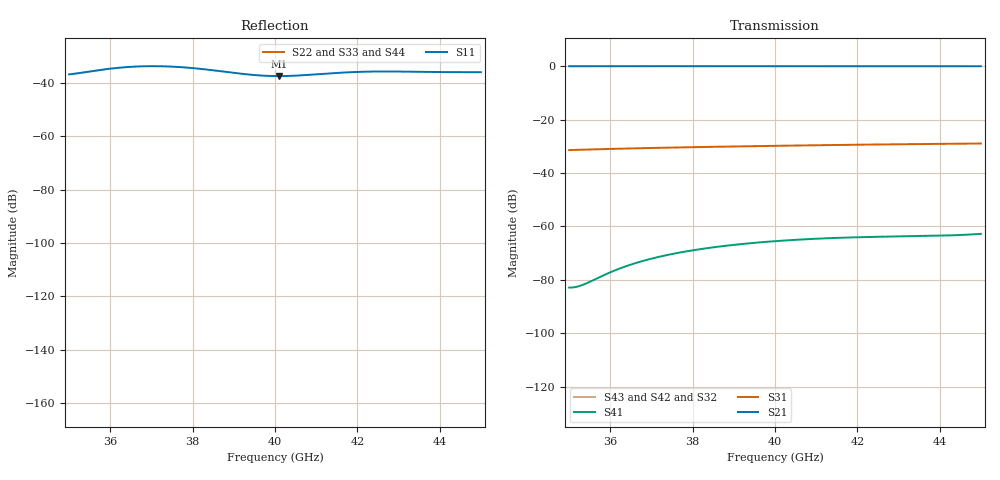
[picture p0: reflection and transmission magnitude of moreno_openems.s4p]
! Moreno cross-guide coupler, openEMS FDTD
! only column 1 (port 1 excited) and, by reciprocity, row 1 are simulated; other entries are zero
! S-parameters are normalised to each port's TE10 wave impedance (generalised
! S-matrix); 'R 50' below is only the placeholder the format requires.
! Reference planes: edges of the common a x a square.
# GHz S MA R 50
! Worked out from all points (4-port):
!   201 points, 35 GHz to 45 GHz, reference 50 ohm
!   strongest paths, dB at 35 GHz, 37.5 GHz, 40 GHz, 42.5 GHz, 45 GHz:
!     S21: 0.0, 0.0, 0.0, 0.0, 0.0
!     S31: -31.4, -30.5, -29.8, -29.3, -29.0
!     S41: -82.9, -70.3, -65.5, -63.9, -62.8
!     S43: -, -, -, -, -
!     S42: -, -, -, -, -
!     S32: -, -, -, -, -
!   lowest |S11| = -37.5 dB at 40.1 GHz (marker M1), VSWR 1.03, Z = 51.3 + j0.47 ohm
!   |S11| at or under -10 dB: start of sweep to end of sweep
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35  0.01433 -142.0  0.9983 -159.8  0.02687 110.2  7.162e-05 -107.3
    0.9983 -159.8  0 0.0  0 0.0  0 0.0
    0.02687 110.2  0 0.0  0 0.0  0 0.0
    7.162e-05 -107.3  0 0.0  0 0.0  0 0.0
35.6  0.01671 -117.4  0.9998 -166.1  0.02771 104.0  9.947e-05 -168.3
      0.9998 -166.1  0 0.0  0 0.0  0 0.0
      0.02771 104.0  0 0.0  0 0.0  0 0.0
      9.947e-05 -168.3  0 0.0  0 0.0  0 0.0
37.1  0.02043 -78.8  1 178.6  0.02952 88.6  0.0002602 129.5
      1 178.6  0 0.0  0 0.0  0 0.0
      0.02952 88.6  0 0.0  0 0.0  0 0.0
      0.0002602 129.5  0 0.0  0 0.0  0 0.0
38.4  0.01748 -46.4  0.9993 166.0  0.03083 75.9  0.0003962 100.3
      0.9993 166.0  0 0.0  0 0.0  0 0.0
      0.03083 75.9  0 0.0  0 0.0  0 0.0
      0.0003962 100.3  0 0.0  0 0.0  0 0.0
40.1  0.01333 20.1  0.9992 149.9  0.03235 59.9  0.0005358 70.4
      0.9992 149.9  0 0.0  0 0.0  0 0.0
      0.03235 59.9  0 0.0  0 0.0  0 0.0
      0.0005358 70.4  0 0.0  0 0.0  0 0.0
42.65  0.01628 107.7  1 126.6  0.0343 36.5  0.0006421 35.4
       1 126.6  0 0.0  0 0.0  0 0.0
       0.0343 36.5  0 0.0  0 0.0  0 0.0
       0.0006421 35.4  0 0.0  0 0.0  0 0.0
45  0.01577 -179.0  0.9974 105.8  0.03565 15.8  0.0007246 15.0
    0.9974 105.8  0 0.0  0 0.0  0 0.0
    0.03565 15.8  0 0.0  0 0.0  0 0.0
    0.0007246 15.0  0 0.0  0 0.0  0 0.0
